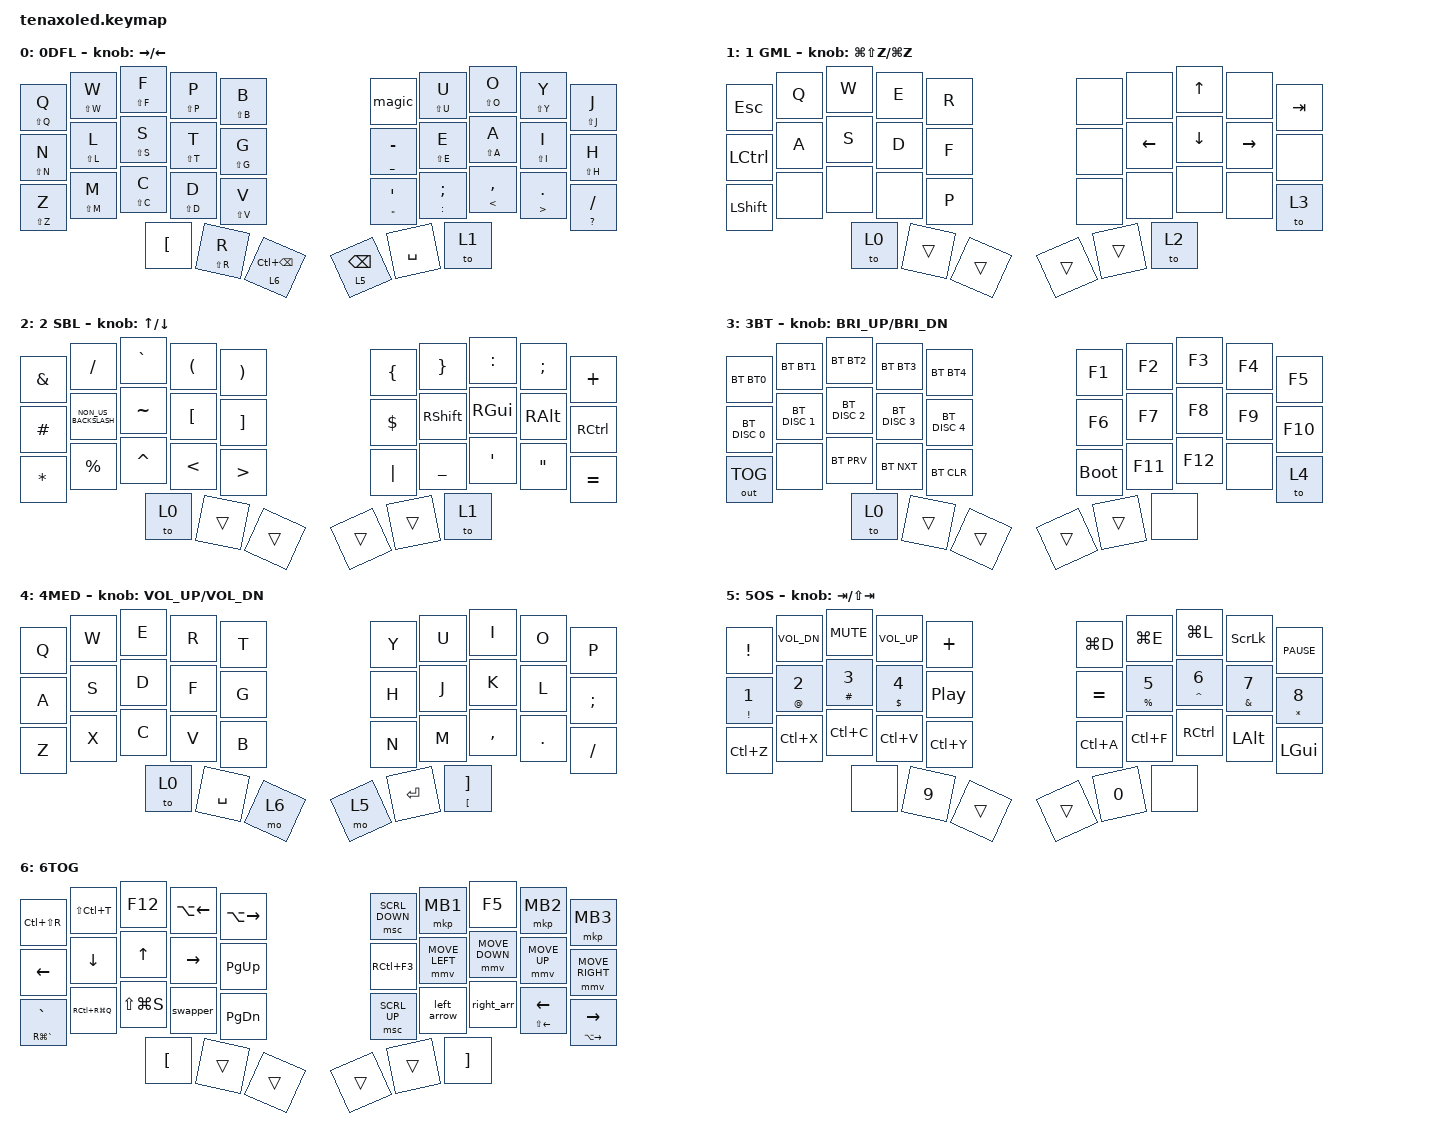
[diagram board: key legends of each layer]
/*
 * Copyright (c) 2020 The ZMK Contributors
 *
 * SPDX-License-Identifier: MIT
 */

#include <dt-bindings/zmk/mouse.h>
#include <behaviors.dtsi>
#include <dt-bindings/zmk/bt.h>
#include <dt-bindings/zmk/keys.h>
#include <dt-bindings/zmk/outputs.h>
#include <dt-bindings/zmk/pointing.h>

#define ZMK_POINTING_DEFAULT_MOVE_VAL 1200  // default: 600
#define ZMK_POINTING_DEFAULT_SCRL_VAL 25    // default: 10
#define COMBO_TIMEOUT 60
#define BT0 BT_SEL 0
#define BT1 BT_SEL 1
#define BT2 BT_SEL 2
#define BT3 BT_SEL 3
#define BT4 BT_SEL 4

// &out OUT_BLE
// #define MO_TOG(layer) &mo_tog layer layer   // Macro to apply momentary-layer-on-hold/toggle-layer-on-tap to a specific layer
// &led_strip {
//    chain-length = <18>;
// };

&mt {
    tapping-term-ms = <500>;

    // retro-tap;
};

&lt { tapping-term-ms = <180>; };

&sk {
    release-after-ms = <3000>;
    quick-release;
};

&caps_word { continue-list = <UNDERSCORE MINUS SPACE BACKSPACE>; };

/ {
    combos {
        compatible = "zmk,combos";

        combo_shiftR {
            timeout-ms = <200>;
            key-positions = <27 17>;
            layers = <0 2>;
            bindings = <&kp LEFT_SHIFT>;
        };

        bt_clr {
            bindings = <&bt BT_CLR_ALL>;
            key-positions = <20 21 22 27 28 29>;
            layers = <3>;
        };

        combo-esc {
            bindings = <&kp ESCAPE>;
            key-positions = <0 1>;
        };

        combo-tab {
            bindings = <&kp TAB>;
            key-positions = <14 15>;
        };

        combo-capslock {
            bindings = <&caps_word>;
            key-positions = <24 25>;
        };

        combo-question {
            bindings = <&kp AT>;
            key-positions = <23 24>;
        };

        combo-exclamation {
            bindings = <&kp EXCL>;
            key-positions = <25 26>;
        };

        combo-chinese {
            bindings = <&kp LC(GRAVE)>;
            key-positions = <4 5>;
        };

        combo-winlock {
            bindings = <&kp LG(L)>;
            key-positions = <6 7 8>;
        };

        combo-btclear {
            bindings = <&bt BT_CLR>;
            key-positions = <0 24>;
        };

        combo-winswap {
            bindings = <&kp LA(LG(TAB))>;
            key-positions = <1 2 3>;
        };

        combo-controlL {
            bindings = <&kp LEFT_CONTROL>;
            key-positions = <23 13>;
        };

        combo-shiftL {
            bindings = <&kp LEFT_SHIFT>;
            key-positions = <22 12>;
            timeout-ms = <200>;
            layers = <0 2>;
        };

        combo-controlR {
            bindings = <&kp LEFT_CONTROL>;
            key-positions = <26 16>;
        };

        combo-guiL {
            bindings = <&kp LEFT_GUI>;
            key-positions = <21 11>;
        };

        combo-guiR {
            bindings = <&kp RIGHT_GUI>;
            key-positions = <28 18>;
        };

        combo-altL {
            bindings = <&kp LEFT_ALT>;
            key-positions = <20 10>;
        };

        combo-altR {
            bindings = <&kp RIGHT_ALT>;
            key-positions = <29 19>;
        };

        combo-x {
            bindings = <&as LS(X) X>;
            key-positions = <10 11>;
        };

        combo-studiounlock {
            bindings = <&studio_unlock>;
            key-positions = <20 21>;
        };

        combo-k {
            bindings = <&as LS(K) K>;
            key-positions = <18 19>;
        };

        combo-plus {
            bindings = <&as EQUAL PLUS>;
            key-positions = <8 9>;
        };

        combo-enter {
            bindings = <&kp ENTER>;
            key-positions = <28 29>;
        };
    };

    // ============================================================
    // MAGIC KEY MACROS
    // Each macro outputs the "alternate" character for a bigram.
    // e.g. after typing N, pressing magic → L  (avoids NL SFB)
    // ============================================================

    macros {
        //personal email (h → uonan2015@gmail.com)

        magic_uo: magic_uo {
            compatible = "zmk,behavior-macro";
            label = "MAGIC_UO";
            #binding-cells = <0>;
            bindings = <&kp U &kp O &kp N &kp A &kp N &kp NUMBER_2 &kp N0 &kp NUMBER_1 &kp NUMBER_5 &kp AT &kp G &kp M &kp A &kp I &kp L &kp DOT &kp C &kp O &kp M>;
        };

        // Trigram briefs (space/enter → THE)

        magic_the: magic_the {
            compatible = "zmk,behavior-macro";
            label = "MAGIC_THE";
            #binding-cells = <0>;
            bindings = <&kp T &kp H &kp E>;
        };

        // I → ON  (covers ION trigram)

        magic_on: magic_on {
            compatible = "zmk,behavior-macro";
            label = "MAGIC_ON";
            #binding-cells = <0>;
            bindings = <&kp O &kp N>;
        };

        // T → MENT

        magic_ment: magic_ment {
            compatible = "zmk,behavior-macro";
            label = "MAGIC_MENT";
            #binding-cells = <0>;
            bindings = <&kp M &kp E &kp N &kp T>;
        };

        // A → ND  (for AND via repeat-key style; also useful standalone)

        magic_nd: magic_nd {
            compatible = "zmk,behavior-macro";
            label = "MAGIC_ND";
            #binding-cells = <0>;
            bindings = <&kp N &kp D>;
        };

        // I → NG  (for ING)

        magic_ng: magic_ng {
            compatible = "zmk,behavior-macro";
            label = "MAGIC_NG";
            #binding-cells = <0>;
            bindings = <&kp N &kp G>;
        };

        // N → YU  (for NYU)

        magic_yu: magic_yu {
            compatible = "zmk,behavior-macro";
            label = "MAGIC_YU";
            #binding-cells = <0>;
            bindings = <&kp Y &kp U>;
        };

        // FOR brief (space/enter alternate — second binding priority)

        magic_for: magic_for {
            compatible = "zmk,behavior-macro";
            label = "MAGIC_FOR";
            #binding-cells = <0>;
            bindings = <&kp F &kp O &kp R>;
        };
    };

    behaviors {
        // ============================================================
        // MAGIC KEY BEHAVIOR
        // Placed on the Z key position (bottom-left, left hand).
        // Outputs a context-sensitive alternate character based on
        // the last key typed, targeting Valmak's SFBs.
        //
        // Valmak left hand columns (index→pinky):
        //   index:  R / T / G / D / V
        //   middle: S / L / C / M
        //   ring:   F / N / W
        //   pinky:  P / X / Z (magic replaces Z)
        //
        // Key SFB targets in Valmak:
        //   P → L  
        //   W → N
        //   S → C  (middle finger SC bigram)
        //   C/F → L  
        //   A → O  (vowel alternation)
        //   E → U  (vowel alternation)
        //   I → ON (ION trigram)
        //   T → MENT (suffix brief)
        //   Y → OU  (YOU trigram)
        //   SPACE/RET → THE (trigram brief)
        // ============================================================

        magic: magic_key {
            compatible = "zmk,behavior-adaptive-key";
            label = "MAGIC_KEY";
            #binding-cells = <0>;
            bindings = <&none>;

            ld {
                trigger-keys = <L>;
                bindings = <&kp D>;
            };

            pl {
                trigger-keys = <P>;
                bindings = <&kp L>;
            };

            wn {
                trigger-keys = <W>;
                bindings = <&kp N>;
            };

            // ── SFB eliminations ──────────────────────────────────
            // S → C  (SC same-finger bigram on Valmak middle)

            sc {
                trigger-keys = <S>;
                bindings = <&kp C>;
            };

            // C/F → L  (left-index column → Y, avoids index SFBs)

            cfl {
                trigger-keys = <C F>;
                bindings = <&kp L>;
            };

            // ── Vowel alternations ────────────────────────────────
            // E → U

            eu {
                trigger-keys = <E>;
                bindings = <&kp U>;
            };

            // ── Trigram / suffix briefs ───────────────────────────
            // I → ON  (covers ION)

            ion {
                trigger-keys = <I>;
                bindings = <&magic_on>;
            };

            // H → uonan2015@gmail.com

            hpersonalemail {
                trigger-keys = <H>;
                bindings = <&magic_uo>;
            };

            // A → ND

            and {
                trigger-keys = <A>;
                bindings = <&magic_nd>;
            };

            // T → MENT

            tment {
                trigger-keys = <T>;
                bindings = <&magic_ment>;
            };

            // N → YU  (covers NYU)

            nyu {
                trigger-keys = <N>;
                bindings = <&magic_yu>;
            };

            // SPACE or ENTER → THE

            the {
                trigger-keys = <SPACE RET>;
                bindings = <&magic_the>;
            };
        };

        // ============================================
        // AUTOSHIFT BEHAVIORS - ADD TO YOUR BEHAVIORS SECTION

        as: autoshift {
            compatible = "zmk,behavior-hold-tap";
            label = "AUTOSHIFT";
            #binding-cells = <2>;
            tapping-term-ms = <220>;  // Adjust timing: 135-200ms typical
            quick-tap-ms = <0>;
            flavor = "tap-preferred";
            bindings = <&kp>, <&kp>;
        };

        // ============================================

        hold_shift: hold_shift {
            compatible = "zmk,behavior-smart-toggle";
            #binding-cells = <0>;
            bindings = <&kp RSHIFT>, <&none>;

            ignored-key-positions = <16 17 18 26 27 28>;
        };

        smart_moveline: smart_moveline {
            compatible = "zmk,behavior-smart-toggle";
            #binding-cells = <0>;
            bindings = <&kp RG(RALT)>, <&none>;

            ignored-key-positions = <7 17 27>;
        };

        td_esc: tap_dance_esc {
            compatible = "zmk,behavior-tap-dance";
            label = "TAP_DANCE_ESC";
            #binding-cells = <0>;
            tapping-term-ms = <200>;
            bindings = <&kp LALT>, <&kp ESC>;
        };

        hm: homerow_mods {
            compatible = "zmk,behavior-hold-tap";
            label = "HOMEROW_MODS";
            #binding-cells = <2>;
            tapping-term-ms = <400>;
            quick-tap-ms = <0>;
            flavor = "tap-preferred";
            bindings = <&kp>, <&kp>;
        };

        bspc_del: backspace_delete {
            compatible = "zmk,behavior-mod-morph";
            label = "BACKSPACE_DELETE";
            #binding-cells = <0>;
            bindings = <&kp BACKSPACE>, <&kp DELETE>;

            mods = <(MOD_LSFT|MOD_RSFT)>;
        };

        ht_hl: holdtap_homerowlayer {
            compatible = "zmk,behavior-hold-tap";
            label = "HOLDTAP_HOMELAY";
            #binding-cells = <2>;
            tapping-term-ms = <225>;
            flavor = "tap-preferred";
            require-prior-idle-ms = <125>;
            bindings = <&mo>, <&kp>;

            quick-tap-ms = <125>;
        };

        ht_shift: ht_shift {
            compatible = "zmk,behavior-hold-tap";
            label = "HT_SHIFT";
            bindings = <&kp>, <&kp>;

            #binding-cells = <2>;
            tapping-term-ms = <130>;
            flavor = "tap-preferred";
        };

        bsp_word: bsp_word {
            compatible = "zmk,behavior-mod-morph";
            label = "BSP_WORD";
            bindings = <&kp LA(BACKSPACE)>, <&kp LA(DELETE)>;

            #binding-cells = <0>;
            mods = <(MOD_LSFT|MOD_RSFT)>;
        };

        td_semic: td_semic {
            compatible = "zmk,behavior-tap-dance";
            label = "TD_SEMIC";
            #binding-cells = <0>;
            bindings = <&kp COMMA>, <&kp SEMI>;

            tapping-term-ms = <250>;
        };

        td_shiftCW: td_shiftCW {
            compatible = "zmk,behavior-tap-dance";
            label = "TD_SHIFTCW";
            #binding-cells = <0>;
            bindings = <&sk RIGHT_SHIFT>, <&caps_word>;

            tapping-term-ms = <300>;
        };

        left_arrow: left_arrow {
            compatible = "zmk,behavior-tap-dance";
            label = "LEFT_ARROW";
            #binding-cells = <0>;
            bindings = <&kp LEFT>, <&kp LG(LEFT_ARROW)>;

            tapping-term-ms = <225>;
        };

        right_arr: right_arr {
            compatible = "zmk,behavior-tap-dance";
            label = "RIGHT_ARR";
            #binding-cells = <0>;
            bindings = <&kp RIGHT>, <&kp LG(RIGHT)>;

            tapping-term-ms = <225>;
        };

        left_taphold: left_taphold {
            compatible = "zmk,behavior-hold-tap";
            label = "LEFT_TAPHOLD";
            bindings = <&kp>, <&kp>;

            #binding-cells = <2>;
            tapping-term-ms = <250>;
            flavor = "tap-preferred";
        };

        rght_taphold: rght_taphold {
            compatible = "zmk,behavior-hold-tap";
            label = "RGHT_TAPHOLD";
            bindings = <&kp>, <&kp>;

            #binding-cells = <2>;
            tapping-term-ms = <250>;
            flavor = "tap-preferred";
        };

        ht_hyper: ht_hyper {
            compatible = "zmk,behavior-hold-tap";
            label = "HT_HYPER";
            #binding-cells = <2>;
            tapping-term-ms = <225>;
            flavor = "tap-preferred";
            require-prior-idle-ms = <125>;
            quick-tap-ms = <125>;
            bindings = <&sk>, <&kp>;
        };

        mod_slash: mod_slash {
            compatible = "zmk,behavior-mod-morph";
            label = "MOD_SLASH";
            bindings = <&kp KP_SLASH>, <&kp BACKSLASH>;

            #binding-cells = <0>;
            mods = <(MOD_LSFT|MOD_RSFT)>;
        };

        pht_L2shift: pht_L2shift {
            compatible = "zmk,behavior-hold-tap";
            label = "PHT_L2SHIFT";
            bindings = <&kp>, <&kp>;

            #binding-cells = <2>;
            tapping-term-ms = <120>;
            flavor = "tap-preferred";
            hold-trigger-key-positions = <30 31 32 5 15 25 5 6 7 8 9 15 16 17 18 19 25 26 27 28 29>;
        };

        ArrowSelect: ArrowSelect {
            compatible = "zmk,behavior-hold-tap";
            label = "ARROWSELECT";
            bindings = <&kp>, <&kp>;

            #binding-cells = <2>;
            tapping-term-ms = <280>;
            flavor = "tap-preferred";
        };

        mod_qmarkcolon: mod_qmarkcolon {
            compatible = "zmk,behavior-mod-morph";
            label = "MOD_QMARKCOLON";
            bindings = <&kp QUESTION>, <&kp COLON>;

            #binding-cells = <0>;
            mods = <(MOD_LSFT|MOD_RSFT)>;
        };

        ht_capsword: ht_capsword {
            compatible = "zmk,behavior-hold-tap";
            label = "HT_CAPSWORD";
            bindings = <&kp>, <&caps_word>;

            #binding-cells = <2>;
            tapping-term-ms = <150>;
        };

        swapper: swapper {
            compatible = "zmk,behavior-smart-toggle";
            #binding-cells = <0>;
            bindings = <&kp RGUI>, <&kp TAB>;

            ignored-key-positions = <20 29 31>;
            label = "SWAPPER";
        };

        ht_swapper: ht_swapper {
            compatible = "zmk,behavior-hold-tap";
            label = "HT_SWAPPER";
            bindings = <&mo>, <&swapper>;

            #binding-cells = <2>;
            tapping-term-ms = <150>;
        };
    };

    keymap {
        compatible = "zmk,keymap";

        Default {
            display-name = "0DFL";
            bindings = <
&as LS(Q) Q  &as LS(W) W  &as LS(F) F       &as LS(P) P  &as LS(B) B          &magic                  &as LS(U) U     &as LS(O) O          &as LS(Y) Y              &as LS(J) J
&as LS(N) N  &as LS(L) L  &as LS(S) S       &as LS(T) T  &as LS(G) G          &as UNDER MINUS         &as LS(E) E     &as LS(A) A          &as LS(I) I              &as LS(H) H
&as LS(Z) Z  &as LS(M) M  &as LS(C) C       &as LS(D) D  &as LS(V) V          &as DOUBLE_QUOTES APOS  &as COLON SEMI  &as LESS_THAN COMMA  &as GREATER_THAN PERIOD  &as QUESTION SLASH
                          &kp LEFT_BRACKET  &as LS(R) R  &lt 6 LC(BACKSPACE)  &lt 5 BACKSPACE         &kp SPACE       &to 1
            >;

            sensor-bindings = <&inc_dec_kp RIGHT LEFT>;
            label = "0DFL";
        };

        Gaming-Layer {
            display-name = "1 GML";
            bindings = <
&kp ESCAPE  &kp Q  &kp W  &kp E   &kp R   &none   &none     &kp UP_ARROW  &none      &kp TAB
&kp LCTRL   &kp A  &kp S  &kp D   &kp F   &none   &kp LEFT  &kp DOWN      &kp RIGHT  &none
&kp LSHIFT  &none  &none  &none   &kp P   &none   &none     &none         &none      &to 3
                   &to 0  &trans  &trans  &trans  &trans    &to 2
            >;

            sensor-bindings = <&inc_dec_kp LG(LS(Z)) LG(Z)>;
            label = "1 SYN";
        };

        Symbol-Layer {
            display-name = "2 SBL";
            bindings = <
&kp AMPS   &kp FSLH              &kp GRAVE  &kp LEFT_PARENTHESIS  &kp RIGHT_PARENTHESIS  &kp LEFT_BRACE  &kp RIGHT_BRACE  &kp COLON         &kp SEMI           &kp PLUS
&kp HASH   &kp NON_US_BACKSLASH  &kp TILDE  &kp LEFT_BRACKET      &kp RIGHT_BRACKET      &kp DOLLAR      &kp RIGHT_SHIFT  &kp RGUI          &kp RALT           &kp RCTRL
&kp ASTRK  &kp PERCENT           &kp CARET  &kp LT                &kp GREATER_THAN       &kp PIPE        &kp UNDER        &kp SINGLE_QUOTE  &kp DOUBLE_QUOTES  &kp EQUAL
                                 &to 0      &trans                &trans                 &trans          &trans           &to 1
            >;

            sensor-bindings = <&inc_dec_kp UP DOWN>;
            label = "2 NAV";
        };

        Bluetooth-Layer {
            display-name = "3BT";
            bindings = <
&bt BT0        &bt BT1        &bt BT2        &bt BT3        &bt BT4        &kp F1       &kp F2   &kp F3   &kp F4  &kp F5
&bt BT_DISC 0  &bt BT_DISC 1  &bt BT_DISC 2  &bt BT_DISC 3  &bt BT_DISC 4  &kp F6       &kp F7   &kp F8   &kp F9  &kp F10
&out OUT_TOG   &none          &bt BT_PRV     &bt BT_NXT     &bt BT_CLR     &bootloader  &kp F11  &kp F12  &none   &to 4
                              &to 0          &trans         &trans         &trans       &trans   &none
            >;

            sensor-bindings = <&inc_dec_kp C_BRI_UP C_BRI_DN>;
            label = "3 BT";
        };

        Chinese-Layer {
            display-name = "4MED";
            bindings = <
&kp Q  &kp W  &kp E  &kp R      &kp T  &kp Y  &kp U      &kp I                           &kp O    &kp P
&kp A  &kp S  &kp D  &kp F      &kp G  &kp H  &kp J      &kp K                           &kp L    &kp SEMI
&kp Z  &kp X  &kp C  &kp V      &kp B  &kp N  &kp M      &kp COMMA                       &kp DOT  &kp FSLH
              &to 0  &kp SPACE  &mo 6  &mo 5  &kp ENTER  &hm LEFT_BRACKET RIGHT_BRACKET
            >;

            sensor-bindings = <&inc_dec_kp C_VOL_UP C_VOL_DN>;
            label = "4 Md";
        };

        Number-Layer {
            display-name = "5OS";
            bindings = <
&kp EXCL           &kp C_VOL_DN     &kp K_MUTE         &kp C_VOLUME_UP      &kp PLUS   &kp LG(D)  &kp LG(E)       &kp LG(L)           &kp SCROLLLOCK          &kp C_PAUSE
&as EXCL NUMBER_1  &as AT NUMBER_2  &as HASH NUMBER_3  &as DOLLAR NUMBER_4  &kp C_PP   &kp EQUAL  &as PERCENT N5  &as CARET NUMBER_6  &as AMPERSAND NUMBER_7  &as STAR NUMBER_8
&kp LC(Z)          &kp LC(X)        &kp LC(C)          &kp LC(V)            &kp LC(Y)  &kp LC(A)  &kp LC(F)       &kp RIGHT_CONTROL   &kp LEFT_ALT            &kp LEFT_GUI
                                    &none              &kp NUMBER_9         &trans     &trans     &kp NUMBER_0    &none
            >;

            sensor-bindings = <&inc_dec_kp TAB LS(TAB)>;
            label = "5 OS";
        };

        Mouse-Control {
            display-name = "6TOG";
            bindings = <
&kp LC(LS(R))                  &kp LS(LC(T))   &kp F12           &kp LA(LEFT)  &kp LA(RIGHT)  &msc SCRL_DOWN  &mkp MB1        &kp F5             &mkp MB2                          &mkp MB3
&kp LEFT                       &kp DOWN_ARROW  &kp UP_ARROW      &kp RIGHT     &kp PAGE_UP    &kp RC(F3)      &mmv MOVE_LEFT  &mmv MOVE_DOWN     &mmv MOVE_UP                      &mmv MOVE_RIGHT
&left_taphold RG(GRAVE) GRAVE  &kp RC(RG(Q))   &kp LS(LG(S))     &swapper      &kp PAGE_DOWN  &msc SCRL_UP    &left_arrow     &right_arr         &ArrowSelect LS(LEFT_ARROW) LEFT  &rght_taphold LA(RIGHT) RIGHT
                                               &kp LEFT_BRACKET  &trans        &trans         &trans          &trans          &kp RIGHT_BRACKET
            >;

            label = "6 TG";
        };
    };
};
